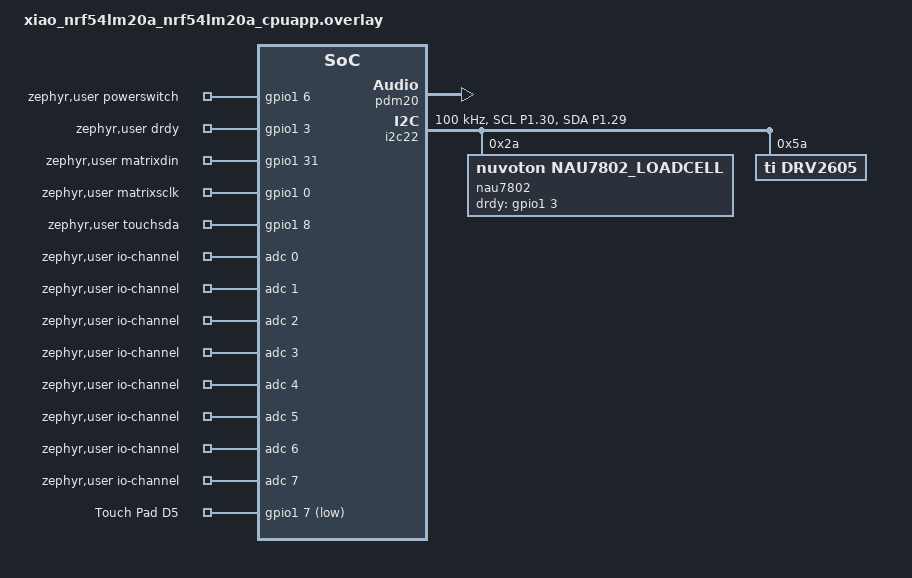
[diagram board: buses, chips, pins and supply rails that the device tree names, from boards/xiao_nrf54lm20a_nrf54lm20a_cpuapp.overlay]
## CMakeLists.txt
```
cmake_minimum_required(VERSION 3.20.0)

find_package(Zephyr REQUIRED HINTS $ENV{ZEPHYR_BASE})
project(SnailScale)

set(FLPR_BIN_PATH "${CMAKE_BINARY_DIR}/../app_flpr/zephyr/zephyr.bin")
set(FLPR_HDR "${CMAKE_CURRENT_BINARY_DIR}/include/flpr_firmware.h")
set(BIN2HDR  "${CMAKE_CURRENT_SOURCE_DIR}/../scripts/bin_to_header.py")

file(MAKE_DIRECTORY "${CMAKE_CURRENT_BINARY_DIR}/include")

add_custom_command(
    OUTPUT  "${FLPR_HDR}"
    COMMAND "${PYTHON_EXECUTABLE}" -X utf8 "${BIN2HDR}"
            --input      "${FLPR_BIN_PATH}"
            --output     "${FLPR_HDR}"
            --array-name flpr_firmware
    DEPENDS "${FLPR_BIN_PATH}" "${BIN2HDR}"
    COMMENT "Generating FLPR firmware header from zephyr.bin"
    VERBATIM
)

target_sources(app PRIVATE 
    src/main.c
    src/flpr_control.c
    src/scale_logic.c
    src/touch_sensor.c
    src/bluetooth.c
    src/motion_ipc.c
    src/fault_handler.c
    src/display_manager.c
    src/periph_power.c
    src/haptic_manager.c
)

target_include_directories(app PRIVATE "${CMAKE_CURRENT_BINARY_DIR}/include")
target_sources(app PRIVATE "${FLPR_HDR}")
```

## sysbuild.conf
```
# MCUBOOT
SB_CONFIG_BOOTLOADER_MCUBOOT=y

# Disable NSIB
SB_CONFIG_SECURE_BOOT_APPCORE=n

# MCUBOOT swap using offset
SB_CONFIG_MCUBOOT_MODE_SWAP_USING_OFFSET=y

# I know the migrating PM to DTS documentation says to use Kconfig, we are using an upstream board and not a custom one.
# This is a simpler fix, might have to go back and research it to make sure
SB_CONFIG_PARTITION_MANAGER=n

# generate dfu update package zip for nrf connect device manager
SB_CONFIG_DFU_ZIP=y
SB_CONFIG_DFU_ZIP_APP=y

# ECDSA P256 signature verification
SB_CONFIG_BOOT_SIGNATURE_TYPE_ECDSA_P256=y
SB_CONFIG_BOOT_SIGNATURE_KEY_FILE="\${APPLICATION_CONFIG_DIR}/../snailscale-ecdsa256.pem"
```

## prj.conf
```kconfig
CONFIG_GPIO=y

# Hardware dependencies
CONFIG_REGULATOR=y
CONFIG_REGULATOR_FIXED=y
CONFIG_MFD=y
CONFIG_REGULATOR_NPM13XX=y

# TM1640 Driver and PT18
CONFIG_TM1640=y
CONFIG_PT18_MATRIX=y
CONFIG_PT18_MATRIX_TEXT=y

# Compiler & Size Optimization (Release baseline)
CONFIG_SIZE_OPTIMIZATIONS=y

# Console and Serial (Disabled in Release for power and binary size)
CONFIG_CONSOLE=n
CONFIG_SERIAL=n
CONFIG_UART_CONSOLE=n
CONFIG_USE_SEGGER_RTT=n

# Logging (Disabled in Release)
CONFIG_LOG=n

# I2C and Sensor subsystem
CONFIG_I2C=y
CONFIG_SENSOR=y

# NAU7802 load cell driver
CONFIG_NAU7802_LOADCELL=y
CONFIG_NAU7802_LOADCELL_TRIGGER_GLOBAL_THREAD=y

# drv2605 haptic driver
CONFIG_HAPTICS=y
CONFIG_HAPTICS_DRV2605=y

# Float support for string formatting
CONFIG_CBPRINTF_FP_SUPPORT=y

# disabled to avoid merged image system so flpr can be flashed directly from internal storage
CONFIG_NORDIC_VPR_LAUNCHER=n

# Power Management
CONFIG_RAM_POWER_DOWN_LIBRARY=y
CONFIG_PM_DEVICE=y

# Bluetooth peripheral role used by SMP transport
CONFIG_BT=y
CONFIG_BT_PERIPHERAL=y
CONFIG_BT_DEVICE_NAME="SnailScale"

# MCUmgr / SMP server for OTA DFU
CONFIG_MCUMGR=y
CONFIG_MCUMGR_TRANSPORT_BT=y
# Just Works pairing for dev, enable AUTHEN for production
CONFIG_BT_SMP=y
CONFIG_MCUMGR_TRANSPORT_BT_PERM_RW=y
CONFIG_MCUMGR_TRANSPORT_BT_CONN_PARAM_CONTROL=y
CONFIG_MCUMGR_TRANSPORT_BT_REASSEMBLY=y
CONFIG_MCUMGR_TRANSPORT_NETBUF_SIZE=1230
CONFIG_MCUMGR_GRP_OS=y
CONFIG_MCUMGR_GRP_OS_BOOTLOADER_INFO=y
CONFIG_MCUMGR_GRP_OS_MCUMGR_PARAMS=y
CONFIG_MCUMGR_GRP_IMG=y

# tuning for BLE DFU
CONFIG_BT_L2CAP_TX_MTU=247
CONFIG_BT_BUF_ACL_TX_SIZE=251
CONFIG_BT_BUF_ACL_RX_SIZE=251
CONFIG_BT_CTLR_DATA_LENGTH_MAX=251

# Storage / image manager dependencies
CONFIG_CRC=y
CONFIG_FLASH=y
CONFIG_FLASH_MAP=y
CONFIG_STREAM_FLASH=y
CONFIG_IMG_MANAGER=y
CONFIG_NET_BUF=y
CONFIG_ZCBOR=y

# ZMS requirements for RRAM
CONFIG_ZMS=y
CONFIG_SETTINGS=y
CONFIG_SETTINGS_ZMS=y

CONFIG_IPC_SERVICE=y
CONFIG_MBOX=y
CONFIG_IPC_SERVICE_BACKEND_ICMSG_ME_INITIATOR=y

# Zbus
CONFIG_ZBUS=y
```

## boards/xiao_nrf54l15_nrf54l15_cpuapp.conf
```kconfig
# Multirole is the only currently supported role by SoftDevice
CONFIG_BT_LL_SOFTDEVICE_MULTIROLE=y

# ZMS cache optimization
CONFIG_ZMS_LOOKUP_CACHE=y
CONFIG_ZMS_LOOKUP_CACHE_SIZE=512
CONFIG_ZMS_LOOKUP_CACHE_FOR_SETTINGS=y

# Workaround required as Zephyr L2 implies usage of NVS backend for settings
CONFIG_NVS=n
```

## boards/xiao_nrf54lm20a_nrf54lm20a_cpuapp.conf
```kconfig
# SoftDevice multirole for nRF54LM20A
CONFIG_BT_LL_SOFTDEVICE_MULTIROLE=y

# ZMS cache optimization
CONFIG_ZMS_LOOKUP_CACHE=y
CONFIG_ZMS_LOOKUP_CACHE_SIZE=512
CONFIG_ZMS_LOOKUP_CACHE_FOR_SETTINGS=y

# Workaround as Zephyr L2 implies NVS backend for settings
CONFIG_NVS=n
```

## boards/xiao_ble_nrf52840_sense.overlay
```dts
#include "../dts/partitions.dtsi"

/ {
    chosen {
        zephyr,code-partition = &slot0_partition;
    };
};
```

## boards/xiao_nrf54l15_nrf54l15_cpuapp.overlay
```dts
#include "../dts/partitions.dtsi"

/ {
        chosen {
                zephyr,code-partition = &slot0_partition;
                zephyr,log-ipc = &ipc0;
        };

        ipc {
                ipc0: ipc0 {
                        compatible = "zephyr,ipc-icmsg-me-initiator";
                        dcache-alignment = <32>;
                        tx-region = <&sram_tx>;
                        rx-region = <&sram_rx>;
                        mboxes = <&cpuapp_vevif_tx 21>, <&cpuapp_vevif_rx 20>;
                        mbox-names = "tx", "rx";
                        status = "okay";
                };
        };

        zephyr,user {
                io-channels = <&adc 0>, <&adc 1>, <&adc 2>, <&adc 3>, <&adc 4>, <&adc 5>, <&adc 6>, <&adc 7>;
        };

        soc {
                /* Define the missing 96KB SRAM region for FLPR */
                cpuflpr_sram_code_data: memory@20028000 {
                        compatible = "mmio-sram";
                        reg = <0x20028000 DT_SIZE_K(96)>;
                        #address-cells = <1>;
                        #size-cells = <1>;
                        ranges = <0x0 0x20028000 DT_SIZE_K(96)>;
                };
        };

        reserved-memory {
                #address-cells = <1>;
                #size-cells = <1>;
                ranges;

                sram_tx: memory@20018000 {
                        reg = <0x20018000 0x0800>;
                };

                sram_rx: memory@20020000 {
                        reg = <0x20020000 0x0800>;
                };
        };
};

dmic_dev: &pdm20 {
        status = "okay";
};

/* Restore RRAM for the main application */
&cpuapp_rram {
    reg = <0x0 DT_SIZE_K(1524)>;
};

&cpuapp_sram {
    reg = <0x20000000 DT_SIZE_K(96)>;
};


&cpuflpr_vpr {
    execution-memory = <&cpuflpr_sram_code_data>;
    status = "okay";
};

/* enable VEVIF for coprocessor */
&cpuapp_vevif_tx {
    status = "okay";
};

/* enable rx vevif mailbox for receiving ipc logs from flpr */
&cpuapp_vevif_rx {
    status = "okay";
};

/* TM1640 shield pin overrides for nRF54L15 where D0 D1 route to gpio1 4 5 */
&tm1640 {
        din-gpios = <&gpio1 4 GPIO_ACTIVE_HIGH>;
        clk-gpios = <&gpio1 5 GPIO_ACTIVE_HIGH>;
};

/* I2C pinctrl for NAU7802 on XIAO D2 D3 */
&pinctrl {
        i2c22_default: i2c22_default {
                group1 {
                        psels = <NRF_PSEL(TWIM_SCL, 1, 6)>,
                                <NRF_PSEL(TWIM_SDA, 1, 7)>;
                };
        };

        i2c22_sleep: i2c22_sleep {
                group1 {
                        psels = <NRF_PSEL(TWIM_SCL, 1, 6)>,
                                <NRF_PSEL(TWIM_SDA, 1, 7)>;
                        low-power-enable;
                };
        };
};

&i2c22 {
        compatible = "nordic,nrf-twim";
        status = "okay";
        pinctrl-0 = <&i2c22_default>;
        pinctrl-1 = <&i2c22_sleep>;
        pinctrl-names = "default", "sleep";
        clock-frequency = <I2C_BITRATE_STANDARD>;

        nau7802: nau7802@2a {
                compatible = "nuvoton,nau7802_loadcell";
                reg = <0x2a>;
                drdy-gpios = <&gpio1 10 GPIO_ACTIVE_HIGH>;
                conversions-per-second = <20>;
                gain = <128>;
        };
};

/ {
        aliases {
                sw0 = &touch_pad;
        };

        buttons {
                compatible = "gpio-keys";
                touch_pad: touch_pad {
                        gpios = <&gpio1 11 (GPIO_ACTIVE_HIGH | GPIO_PULL_DOWN)>;
                        label = "Touch Pad D7";
                };
        };
};

&i2c30 {
        status = "disabled";
};

&lsm6ds3tr_c {
        status = "disabled";
};
```

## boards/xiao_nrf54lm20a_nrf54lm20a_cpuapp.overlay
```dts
#include "../dts/partitions_lm20a.dtsi"

/ {
        chosen {
                zephyr,code-partition = &slot0_partition;
                zephyr,log-ipc = &ipc0;
        };

        ipc {
                ipc0: ipc0 {
                        compatible = "zephyr,ipc-icmsg-me-initiator";
                        dcache-alignment = <32>;
                        tx-region = <&sram_tx>;
                        rx-region = <&sram_rx>;
                        mboxes = <&cpuapp_vevif_tx 21>, <&cpuapp_vevif_rx 20>;
                        mbox-names = "tx", "rx";
                        status = "okay";
                };
        };

        zephyr,user {
                io-channels = <&adc 0>, <&adc 1>, <&adc 2>, <&adc 3>, <&adc 4>, <&adc 5>, <&adc 6>, <&adc 7>;
                powerswitch-gpios = <&gpio1 6 GPIO_ACTIVE_HIGH>;
                drdy-gpios = <&gpio1 3 GPIO_ACTIVE_HIGH>;
                matrixdin-gpios = <&gpio1 31 GPIO_ACTIVE_HIGH>;
                matrixsclk-gpios = <&gpio1 0 GPIO_ACTIVE_HIGH>;
                touchsda-gpios = <&gpio1 8 GPIO_ACTIVE_HIGH>;
        };

        soc {
                cpuflpr_sram_code_data: memory@20070000 {
                        compatible = "mmio-sram";
                        reg = <0x20070000 DT_SIZE_K(63)>;
                        #address-cells = <1>;
                        #size-cells = <1>;
                        ranges = <0x0 0x20070000 DT_SIZE_K(63)>;
                };
        };

        reserved-memory {
                #address-cells = <1>;
                #size-cells = <1>;
                ranges;

                sram_tx: memory@20060000 {
                        reg = <0x20060000 0x0800>;
                };

                sram_rx: memory@20068000 {
                        reg = <0x20068000 0x0800>;
                };
        };
};

dmic_dev: &pdm20 {
        status = "okay";
};



&cpuapp_rram {
    reg = <0x0 DT_SIZE_K(2036)>;
};

&cpuapp_sram {
    reg = <0x20000000 DT_SIZE_K(384)>;
};

&cpuflpr_vpr {
    execution-memory = <&cpuflpr_sram_code_data>;
    status = "okay";
};

&cpuapp_vevif_tx {
    status = "okay";
};

&cpuapp_vevif_rx {
    status = "okay";
};

&tm1640 {
        din-gpios = <&gpio1 31 GPIO_ACTIVE_HIGH>;
        clk-gpios = <&gpio1 0 GPIO_ACTIVE_HIGH>;
};

&pinctrl {
        i2c22_default: i2c22_default {
                group1 {
                        psels = <NRF_PSEL(TWIM_SCL, 1, 30)>,
                                <NRF_PSEL(TWIM_SDA, 1, 29)>;
                        bias-pull-up;
                };
        };

        i2c22_sleep: i2c22_sleep {
                group1 {
                        psels = <NRF_PSEL(TWIM_SCL, 1, 30)>,
                                <NRF_PSEL(TWIM_SDA, 1, 29)>;
                        low-power-enable;
                };
        };
};

&i2c22 {
        compatible = "nordic,nrf-twim";
        status = "okay";
        pinctrl-0 = <&i2c22_default>;
        pinctrl-1 = <&i2c22_sleep>;
        pinctrl-names = "default", "sleep";
        clock-frequency = <I2C_BITRATE_STANDARD>;

        nau7802: nau7802@2a {
                compatible = "nuvoton,nau7802_loadcell";
                reg = <0x2a>;
                drdy-gpios = <&gpio1 3 GPIO_ACTIVE_HIGH>;
                conversions-per-second = <20>;
                gain = <128>;
        };

        drv2605: drv2605@5a {
                compatible = "ti,drv2605";
                reg = <0x5a>;
                status = "okay";
                actuator-mode = "LRA";
                vib-rated-mv = <1800>;
                vib-overdrive-mv = <2000>;
        };
};

/ {
        aliases {
                sw0 = &touch_pad;
        };

        buttons {
                compatible = "gpio-keys";
                touch_pad: touch_pad {
                        gpios = <&gpio1 7 (GPIO_ACTIVE_LOW | GPIO_PULL_UP)>;
                        label = "Touch Pad D5";
                };
        };
};

&i2c30 {
        status = "disabled";
};

&lsm6ds3tr_c {
        status = "disabled";
};

&spi23 {
        status = "disabled";
};

&uart21 {
        status = "disabled";
};
```

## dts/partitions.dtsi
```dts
&cpuapp_rram {
        /* Delete the default board partitions, prevents label collisions */
        /delete-node/ partitions;

        partitions {
                compatible = "fixed-partitions";
                #address-cells = <1>;
                #size-cells = <1>;

                boot_partition: partition@0 {
                        label = "mcuboot";
                        reg = <0x0 0xd000>;
                };

                slot0_partition: partition@d000 {
                        label = "image-0";
                        reg = <0xd000 0xb2000>;
                };

                slot1_partition: partition@bf000 {
                        label = "image-1";
                        reg = <0xbf000 0xb2000>;
                };

                scratch_partition: partition@171000 {
                        label = "image-scratch";
                        reg = <0x171000 0x1000>;
                };

                factory_data_partition: partition@172000 {
                        label = "factory-data";
                        reg = <0x172000 0x1000>;
                };

                storage_partition: partition@173000 {
                        label = "storage";
                        reg = <0x173000 0xa000>;
                };
        };
};
```

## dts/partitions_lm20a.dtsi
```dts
&cpuapp_rram {
        /delete-node/ partitions;

        partitions {
                compatible = "fixed-partitions";
                #address-cells = <1>;
                #size-cells = <1>;

                boot_partition: partition@0 {
                        label = "mcuboot";
                        reg = <0x0 0xd000>;
                };

                slot0_partition: partition@d000 {
                        label = "image-0";
                        reg = <0xd000 0xea000>;
                };

                slot1_partition: partition@f7000 {
                        label = "image-1";
                        reg = <0xf7000 0xea000>;
                };

                scratch_partition: partition@1e1000 {
                        label = "image-scratch";
                        reg = <0x1e1000 0x1000>;
                };

                factory_data_partition: partition@1e2000 {
                        label = "factory-data";
                        reg = <0x1e2000 0x1000>;
                };

                storage_partition: partition@1e3000 {
                        label = "storage";
                        reg = <0x1e3000 0x1a000>;
                };
        };
};
```

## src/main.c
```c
#include <zephyr/kernel.h>
#include <zephyr/device.h>
#include <zephyr/devicetree.h>
#include <zephyr/drivers/gpio.h>
#include <zephyr/logging/log.h>
#include <string.h>
#include <zephyr/settings/settings.h>

#include "scale_logic.h"
#include "touch_sensor.h"
#include "bluetooth.h"
#include "motion_ipc.h"
#include "fault_handler.h"
#include "display_manager.h"
#include "haptic_manager.h"

#include <zephyr/dfu/mcuboot.h>
#include <app_version.h>

LOG_MODULE_REGISTER(main, CONFIG_LOG_DEFAULT_LEVEL);
int main(void)
{
	LOG_INF("SnailScale firmware v%s started", APP_VERSION_EXTENDED_STRING);

	if (settings_subsys_init() != 0) {
		system_fault_handler("Settings subsys init failed");
	}

	if (display_manager_init() != 0) {
		system_fault_handler("Display manager init failed");
	}

	// init haptics
	haptic_manager_init();


	if (bluetooth_init()) {
		// reboot if bluetooth fails so mcuboot can revert to working firmware
		system_fault_handler("Bluetooth init failed");
	}

	if (touch_sensor_init() != 0) {
		system_fault_handler("Touch sensor init failed");
	}

	// ipc must be up before scale logic starts
	if (motion_ipc_init() != 0) {
		system_fault_handler("Motion IPC init failed");
	}

	if (scale_logic_init() != 0) {
		system_fault_handler("Scale logic init failed");
	}

	settings_load();

	LOG_INF("NAU7802 DRDY trigger active");

	// confirm image to prevent rollback
	boot_write_img_confirmed();

	k_sleep(K_FOREVER);

	return 0;
}
```

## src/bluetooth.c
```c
#include "bluetooth.h"

#include <zephyr/kernel.h>
#include <zephyr/bluetooth/bluetooth.h>
#include <zephyr/bluetooth/conn.h>
#include <zephyr/mgmt/mcumgr/transport/smp_bt.h>
#include <zephyr/logging/log.h>

LOG_MODULE_REGISTER(bluetooth, CONFIG_LOG_DEFAULT_LEVEL);

// ble advertisement data flags and device name
static const struct bt_data ad[] = {
	BT_DATA_BYTES(BT_DATA_FLAGS, (BT_LE_AD_GENERAL | BT_LE_AD_NO_BREDR)),
	BT_DATA(BT_DATA_NAME_COMPLETE, CONFIG_BT_DEVICE_NAME,
		sizeof(CONFIG_BT_DEVICE_NAME) - 1),
};

// scan response smp service uuid for nrf connect device manager
static const struct bt_data sd[] = {
	BT_DATA_BYTES(BT_DATA_UUID128_ALL, SMP_BT_SVC_UUID_VAL),
};

// log connection events
static void connected(struct bt_conn *conn, uint8_t err)
{
	if (err) {
		LOG_ERR("Connection failed err %d", err);
	} else {
		LOG_INF("Connected");
	}
}

// restart advertising from workqueue
static struct k_work adv_restart_work;

static void adv_restart_handler(struct k_work *work)
{
	int err = bt_le_adv_start(BT_LE_ADV_CONN_FAST_1, ad, ARRAY_SIZE(ad),
			      sd, ARRAY_SIZE(sd));
	if (err) {
		LOG_ERR("Advertising failed to restart err %d", err);
	} else {
		LOG_INF("Advertising as %s", CONFIG_BT_DEVICE_NAME);
	}
}

// log disconnection events
static void disconnected(struct bt_conn *conn, uint8_t reason)
{
	LOG_INF("Disconnected reason %d", reason);
	k_work_submit(&adv_restart_work);
}

// register callbacks automatically
BT_CONN_CB_DEFINE(conn_callbacks) = {
	.connected = connected,
	.disconnected = disconnected,
};

int bluetooth_init(void)
{
	k_work_init(&adv_restart_work, adv_restart_handler);

	int err = bt_enable(NULL);
	if (err) {
		LOG_ERR("Bluetooth init failed err %d", err);
		return err;
	}
	LOG_INF("Bluetooth initialized");

	err = bt_le_adv_start(BT_LE_ADV_CONN_FAST_1, ad, ARRAY_SIZE(ad),
			      sd, ARRAY_SIZE(sd));
	if (err) {
		LOG_ERR("Advertising failed to start err %d", err);
		return err;
	}
	LOG_INF("Advertising as %s", CONFIG_BT_DEVICE_NAME);

	return 0;
}
```

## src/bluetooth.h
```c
#ifndef BLUETOOTH_H
#define BLUETOOTH_H

// initialize the bluetooth subsystem
int bluetooth_init(void);

#endif
```

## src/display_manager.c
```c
#include "display_manager.h"
#include <zephyr/kernel.h>
#include <zephyr/logging/log.h>
#include <string.h>
#include <pt18_matrix/pt18_matrix.h>
#include <pt18_matrix/pt18_matrix_text.h>

LOG_MODULE_REGISTER(display_manager, CONFIG_LOG_DEFAULT_LEVEL);

static struct k_work_delayable inactivity_work;
K_MSGQ_DEFINE(display_msgq, sizeof(struct display_msg), 16, 4);

static struct display_msg cached_msg;
static bool has_cached_msg;
static uint8_t cached_brightness = 2;

static void inactivity_work_handler(struct k_work *work)
{
	display_manager_set_brightness(1);
}

void display_manager_clear(void)
{
	struct display_msg msg;
	msg.type = MSG_DISPLAY_CLEAR;
	k_msgq_put(&display_msgq, &msg, K_NO_WAIT);
}

void display_manager_print(const char *str, int align)
{
	struct display_msg msg;
	msg.type = MSG_DISPLAY_PRINT;
	strncpy(msg.data.print.str, str, sizeof(msg.data.print.str) - 1);
	msg.data.print.str[sizeof(msg.data.print.str) - 1] = '\0';
	msg.data.print.align = align;
	k_msgq_put(&display_msgq, &msg, K_NO_WAIT);
}

void display_manager_write(const uint8_t *buf, size_t len)
{
	struct display_msg msg;
	msg.type = MSG_DISPLAY_WRITE;
	if (len > sizeof(msg.data.write.buf)) {
		len = sizeof(msg.data.write.buf);
	}
	memcpy(msg.data.write.buf, buf, len);
	msg.data.write.len = len;
	k_msgq_put(&display_msgq, &msg, K_NO_WAIT);
}

void display_manager_set_brightness(uint8_t level)
{
	struct display_msg msg;
	msg.type = MSG_DISPLAY_SET_BRIGHTNESS;
	msg.data.brightness.level = level;
	k_msgq_put(&display_msgq, &msg, K_NO_WAIT);
}

void display_manager_power_off(void)
{
	struct display_msg msg;
	msg.type = MSG_DISPLAY_POWER_OFF;
	k_msgq_put(&display_msgq, &msg, K_NO_WAIT);
}

void display_manager_power_on(void)
{
	struct display_msg msg;
	msg.type = MSG_DISPLAY_POWER_ON;
	k_msgq_put(&display_msgq, &msg, K_NO_WAIT);
}

void display_manager_refresh(void)
{
	display_manager_power_on();
}

void display_manager_register_activity(void)
{
	display_manager_set_brightness(2);
	k_work_reschedule(&inactivity_work, K_SECONDS(10));
}

static void display_thread(void)
{
	struct display_msg msg;

	while (1) {
		if (k_msgq_get(&display_msgq, &msg, K_FOREVER) == 0) {
			switch (msg.type) {
				case MSG_DISPLAY_CLEAR:
					has_cached_msg = false;
					pt18_matrix_clear();
					break;
				case MSG_DISPLAY_PRINT:
					cached_msg = msg;
					has_cached_msg = true;
					pt18_matrix_print(msg.data.print.str, msg.data.print.align);
					break;
				case MSG_DISPLAY_WRITE:
					cached_msg = msg;
					has_cached_msg = true;
					pt18_matrix_write(msg.data.write.buf, msg.data.write.len);
					break;
				case MSG_DISPLAY_SET_BRIGHTNESS:
					cached_brightness = msg.data.brightness.level;
					pt18_matrix_set_brightness(msg.data.brightness.level);
					break;
				case MSG_DISPLAY_POWER_OFF:
					pt18_matrix_power_off();
					break;
				case MSG_DISPLAY_POWER_ON:
					pt18_matrix_power_on();
					pt18_matrix_set_brightness(cached_brightness);
					if (has_cached_msg) {
						if (cached_msg.type == MSG_DISPLAY_PRINT) {
							pt18_matrix_print(cached_msg.data.print.str,
									  cached_msg.data.print.align);
						} else if (cached_msg.type == MSG_DISPLAY_WRITE) {
							pt18_matrix_write(cached_msg.data.write.buf,
									  cached_msg.data.write.len);
						}
					} else {
						pt18_matrix_clear();
					}
					break;
				default:
					LOG_WRN("Unknown display message type: %d", msg.type);
					break;
			}
		}
	}
}

K_THREAD_DEFINE(display_thread_id, 1024, display_thread, NULL, NULL, NULL, 7, 0, 0);

int display_manager_init(void)
{
	k_work_init_delayable(&inactivity_work, inactivity_work_handler);

	int ret = pt18_matrix_init();
	if (ret != 0) {
		LOG_ERR("pt18_matrix_init failed: %d", ret);
		return ret;
	}
	
	/* Kick off initial timer */
	display_manager_register_activity();
	
	LOG_INF("Display manager initialized");
	return 0;
}
```

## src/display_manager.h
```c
#ifndef DISPLAY_MANAGER_H
#define DISPLAY_MANAGER_H

#include <stdint.h>
#include <stddef.h>

enum display_msg_type {
	MSG_DISPLAY_CLEAR,
	MSG_DISPLAY_PRINT,
	MSG_DISPLAY_WRITE,
	MSG_DISPLAY_SET_BRIGHTNESS,
	MSG_DISPLAY_POWER_OFF,
	MSG_DISPLAY_POWER_ON
};

struct display_msg {
	enum display_msg_type type;
	union {
		struct {
			char str[16];
			int align;
		} print;
		struct {
			uint8_t buf[17];
			size_t len;
		} write;
		struct {
			uint8_t level;
		} brightness;
	} data;
};

int display_manager_init(void);
void display_manager_clear(void);
void display_manager_print(const char *str, int align);
void display_manager_write(const uint8_t *buf, size_t len);
void display_manager_set_brightness(uint8_t level);
void display_manager_power_off(void);
void display_manager_power_on(void);
void display_manager_refresh(void);
void display_manager_register_activity(void);

#endif /* DISPLAY_MANAGER_H */
```

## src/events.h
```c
#ifndef EVENTS_H
#define EVENTS_H

#include <zephyr/zbus/zbus.h>

struct tare_request_msg {
	uint8_t dummy; // prevent empty struct
};

struct wake_request_msg {
	uint8_t dummy;
};

struct calibrate_request_msg {
	uint8_t dummy;
};

ZBUS_CHAN_DECLARE(tare_request_chan);
ZBUS_CHAN_DECLARE(wake_request_chan);
ZBUS_CHAN_DECLARE(calibrate_request_chan);

#endif
```

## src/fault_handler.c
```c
#include "fault_handler.h"

#include <zephyr/kernel.h>
#include <zephyr/sys/reboot.h>
#include <zephyr/logging/log.h>

#include <pt18_matrix/pt18_matrix.h>
#include <pt18_matrix/pt18_matrix_text.h>

LOG_MODULE_REGISTER(fault_handler, CONFIG_LOG_DEFAULT_LEVEL);

void system_fault_handler(const char *reason)
{
	LOG_ERR("SYSTEM FAULT: %s", reason);
	LOG_ERR("Rebooting in 3 seconds...");

	pt18_matrix_clear();
	pt18_matrix_print("ERR", 0);

	k_sleep(K_SECONDS(3));
	sys_reboot(SYS_REBOOT_COLD);
}
```

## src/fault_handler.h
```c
#ifndef FAULT_HANDLER_H
#define FAULT_HANDLER_H

void system_fault_handler(const char *reason);

#endif
```

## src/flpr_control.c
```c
#include <zephyr/kernel.h>
#include <zephyr/devicetree.h>
#include <zephyr/cache.h>
#include <string.h>

#include <hal/nrf_vpr.h>
#include <hal/nrf_spu.h>
#include <ram_pwrdn.h>
#include "flpr_firmware.h"

#define FLPR_SRAM_GLOBAL_ADDR (DT_REG_ADDR(DT_NODELABEL(cpuflpr_sram_code_data)))
#define FLPR_SRAM_GLOBAL_SIZE (DT_REG_SIZE(DT_NODELABEL(cpuflpr_sram_code_data)))
#define IPC_TX_ADDR DT_REG_ADDR(DT_NODELABEL(sram_tx))
#define IPC_TX_SIZE DT_REG_SIZE(DT_NODELABEL(sram_tx))
#define IPC_RX_ADDR DT_REG_ADDR(DT_NODELABEL(sram_rx))
#define IPC_RX_SIZE DT_REG_SIZE(DT_NODELABEL(sram_rx))

static int flpr_early_ram_init(void) {
    power_up_ram(IPC_TX_ADDR, IPC_TX_ADDR + IPC_TX_SIZE);
    memset((void *)IPC_TX_ADDR, 0, IPC_TX_SIZE);

    power_up_ram(IPC_RX_ADDR, IPC_RX_ADDR + IPC_RX_SIZE);
    memset((void *)IPC_RX_ADDR, 0, IPC_RX_SIZE);

    // flush ipc shared ram so flpr sees zeroed buffers
    sys_cache_data_flush_range((void *)IPC_TX_ADDR, IPC_TX_SIZE);
    sys_cache_data_flush_range((void *)IPC_RX_ADDR, IPC_RX_SIZE);

    power_up_ram(FLPR_SRAM_GLOBAL_ADDR, FLPR_SRAM_GLOBAL_ADDR + FLPR_SRAM_GLOBAL_SIZE);

    return 0;
}
SYS_INIT(flpr_early_ram_init, PRE_KERNEL_1, 0);

int flpr_boot(void) {
    memcpy((void *)FLPR_SRAM_GLOBAL_ADDR, flpr_firmware, FLPR_FIRMWARE_SIZE);
    
    // flush firmware payload to sram without config dcache guard
    sys_cache_data_flush_range((void *)FLPR_SRAM_GLOBAL_ADDR, FLPR_FIRMWARE_SIZE);

    nrf_spu_periph_perm_secattr_set(NRF_SPU00, nrf_address_slave_get((uint32_t)NRF_VPR00), true);
    nrf_spu_periph_perm_dmasec_set(NRF_SPU00, nrf_address_slave_get((uint32_t)NRF_VPR00), true);

    nrf_vpr_initpc_set(NRF_VPR00, FLPR_SRAM_GLOBAL_ADDR);
    nrf_vpr_cpurun_set(NRF_VPR00, true);
    
    return 0;
}
```

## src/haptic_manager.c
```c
#include "haptic_manager.h"

#include <zephyr/kernel.h>
#include <zephyr/device.h>
#include <zephyr/devicetree.h>
#include <zephyr/drivers/i2c.h>
#include <zephyr/drivers/haptics.h>
#include <zephyr/drivers/haptics/drv2605.h>
#include <zephyr/logging/log.h>

LOG_MODULE_REGISTER(haptic_manager, CONFIG_LOG_DEFAULT_LEVEL);

// drv2605 register addresses
#define DRV2605_REG_STATUS 0x00
#define DRV2605_REG_MODE 0x01
#define DRV2605_REG_GO 0x0C
#define DRV2605_REG_RATED_VOLTAGE 0x16
#define DRV2605_REG_OVERDRIVE_CLAMP_VOLTAGE 0x17
#define DRV2605_REG_FEEDBACK_CONTROL 0x1A
#define DRV2605_REG_CONTROL3 0x1D

// calculated rated voltage 1800mv
#define DRV2605_VAL_RATED_1800MV 81

// calculated clamp voltage 2000mv
#define DRV2605_VAL_CLAMP_2000MV 91

// feedback control lra 3x brake high gain
#define DRV2605_VAL_FEEDBACK_LRA 0xB6

// lra open loop
#define DRV2605_VAL_CONTROL3_LRA_OPEN 0x01

#if DT_NODE_EXISTS(DT_NODELABEL(drv2605))
// drv2605 devicetree spec
static const struct device *haptic_dev = DEVICE_DT_GET(DT_NODELABEL(drv2605));
static const struct i2c_dt_spec haptic_i2c = I2C_DT_SPEC_GET(DT_NODELABEL(drv2605));
#endif

int haptic_manager_reinit(void)
{
#if DT_NODE_EXISTS(DT_NODELABEL(drv2605))
	if (!device_is_ready(haptic_dev) || !i2c_is_ready_dt(&haptic_i2c)) {
		return -ENODEV;
	}

	// wake up chip
	i2c_reg_write_byte_dt(&haptic_i2c, DRV2605_REG_MODE, 0x00);

	// set lra feedback
	i2c_reg_write_byte_dt(&haptic_i2c, DRV2605_REG_FEEDBACK_CONTROL, DRV2605_VAL_FEEDBACK_LRA);

	// set rated voltage
	i2c_reg_write_byte_dt(&haptic_i2c, DRV2605_REG_RATED_VOLTAGE, DRV2605_VAL_RATED_1800MV);

	// set clamp voltage
	i2c_reg_write_byte_dt(&haptic_i2c, DRV2605_REG_OVERDRIVE_CLAMP_VOLTAGE, DRV2605_VAL_CLAMP_2000MV);

	// enable lra open loop
	i2c_reg_update_byte_dt(&haptic_i2c, DRV2605_REG_CONTROL3, DRV2605_VAL_CONTROL3_LRA_OPEN, DRV2605_VAL_CONTROL3_LRA_OPEN);

	return 0;
#else
	return 0;
#endif
}

static int play_effect(uint8_t effect_id)
{
#if DT_NODE_EXISTS(DT_NODELABEL(drv2605))
	if (!device_is_ready(haptic_dev) || !i2c_is_ready_dt(&haptic_i2c)) {
		return -ENODEV;
	}

	uint8_t pre_status = 0;
	uint8_t pre_go = 0;
	uint8_t post_status = 0;
	uint8_t post_go = 0;

	// read status to clear latched faults and get state
	i2c_reg_read_byte_dt(&haptic_i2c, DRV2605_REG_STATUS, &pre_status);

	// read go bit before starting
	i2c_reg_read_byte_dt(&haptic_i2c, DRV2605_REG_GO, &pre_go);

	// clear go bit to guarantee low state
	i2c_reg_write_byte_dt(&haptic_i2c, DRV2605_REG_GO, 0x00);

	// wake from standby and set internal trigger
	int ret = i2c_reg_write_byte_dt(&haptic_i2c, DRV2605_REG_MODE, 0x00);
	if (ret < 0) {
		LOG_ERR("wake chip failed %d", ret);
		return ret;
	}

	// wait for analog wakeup
	k_usleep(250);

	struct drv2605_rom_data rom = {
		.library = DRV2605_LIBRARY_LRA,
		.trigger = DRV2605_MODE_INTERNAL_TRIGGER,
		.seq_regs[0] = effect_id,
		.seq_regs[1] = 0,
		.overdrive_time = 0,
		.sustain_pos_time = 0,
		.sustain_neg_time = 0,
		.brake_time = 0,
	};

	// configure rom playback
	union drv2605_config_data cfg = { .rom_data = &rom };
	ret = drv2605_haptic_config(haptic_dev, DRV2605_HAPTICS_SOURCE_ROM, &cfg);
	if (ret < 0) {
		LOG_ERR("config rom failed %d", ret);
		return ret;
	}

	// trigger go bit directly to ensure rising edge
	ret = i2c_reg_write_byte_dt(&haptic_i2c, DRV2605_REG_GO, 0x01);

	// read post trigger registers for diagnostics
	i2c_reg_read_byte_dt(&haptic_i2c, DRV2605_REG_STATUS, &post_status);
	i2c_reg_read_byte_dt(&haptic_i2c, DRV2605_REG_GO, &post_go);

	LOG_INF("play effect %d pre status 0x%02x go 0x%02x post status 0x%02x go 0x%02x ret %d",
		effect_id, pre_status, pre_go, post_status, post_go, ret);

	return ret;
#else
	return 0;
#endif
}

int haptic_manager_init(void)
{
#if DT_NODE_EXISTS(DT_NODELABEL(drv2605))
	// check device ready
	if (!device_is_ready(haptic_dev)) {
		LOG_ERR("drv2605 device not ready");
		return -ENODEV;
	}

	// restore registers
	haptic_manager_reinit();

	LOG_INF("haptic manager initialized with lra");

	// boot test click
	haptic_play_subtle_click();

	return 0;
#else
	LOG_INF("haptic driver not present in devicetree");
	return 0;
#endif
}

int haptic_play_click(void)
{
	// strong click 60 percent to match boot and wake
	return play_effect(2);
}

int haptic_play_subtle_click(void)
{
	// subtle click
	return play_effect(2);
}

int haptic_play_arm_cal(void)
{
	// soft bump 60 percent
	return play_effect(8);
}

int haptic_play_cal_confirm(void)
{
	// double click 60 percent
	return play_effect(11);
}
```

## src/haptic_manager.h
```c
#ifndef HAPTIC_MANAGER_H
#define HAPTIC_MANAGER_H

#ifdef __cplusplus
extern "C" {
#endif

// init haptic manager
int haptic_manager_init(void);

// reinit haptics after power rail restore
int haptic_manager_reinit(void);

// trigger click effect
int haptic_play_click(void);

// trigger subtle click effect
int haptic_play_subtle_click(void);

// trigger arm cal effect
int haptic_play_arm_cal(void);

// trigger cal confirm effect
int haptic_play_cal_confirm(void);

#ifdef __cplusplus
}
#endif

#endif
```

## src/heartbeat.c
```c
#include "heartbeat.h"

#include <zephyr/kernel.h>
#include <zephyr/ipc/ipc_service.h>
#include <zephyr/drivers/gpio.h>
#include <zephyr/logging/log.h>

#include "scale_logic.h"

#define TARE_REQUEST 0x01
#define STILLNESS_REQUEST 0x02
#define STILLNESS_CONFIRMED 0x03

// 30s timeout if scale never settles
#define STILLNESS_TIMEOUT_SEC 30

LOG_MODULE_REGISTER(heartbeat, CONFIG_LOG_DEFAULT_LEVEL);

static struct k_work tare_work;

static void tare_work_handler(struct k_work *work) {
    LOG_INF("Taring scale via shake");
    scale_tare();
}

static K_SEM_DEFINE(ep_bound, 0, 1);
static K_SEM_DEFINE(stillness_sem, 0, 1);

static struct ipc_ept ep;

static const struct gpio_dt_spec led = GPIO_DT_SPEC_GET(DT_ALIAS(led0), gpios);

static void ep_bound_cb(void *priv) {
    k_sem_give(&ep_bound);
}

static void ep_recv_cb(const void *data, size_t len, void *priv) {
    if (len < 1) return;
    uint8_t msg = ((const uint8_t *)data)[0];
    
    if (msg == TARE_REQUEST) {
        LOG_INF("Received TARE_REQUEST from FLPR");
        if (gpio_is_ready_dt(&led)) {
            gpio_pin_toggle_dt(&led);
        }
        k_work_submit(&tare_work);
    } else if (msg == STILLNESS_CONFIRMED) {
        LOG_INF("FLPR confirmed stillness");
        k_sem_give(&stillness_sem);
    }
}

static struct ipc_ept_cfg ep_cfg = {
    .name = "heartbeat",
    .cb = {
        .bound    = ep_bound_cb,
        .received = ep_recv_cb,
    },
};

int heartbeat_init(void)
{
    k_work_init(&tare_work, tare_work_handler);

    if (gpio_is_ready_dt(&led)) {
        gpio_pin_configure_dt(&led, GPIO_OUTPUT_INACTIVE);
    }

    const struct device *ipc = DEVICE_DT_GET(DT_NODELABEL(ipc0));

    int ret = ipc_service_open_instance(ipc);
    if (ret < 0 && ret != -EALREADY) {
        LOG_ERR("ipc open failed %d", ret);
        return ret;
    }

    ret = ipc_service_register_endpoint(ipc, &ep, &ep_cfg);
    if (ret < 0) {
        LOG_ERR("ep register failed %d", ret);
        return ret;
    }

    // wait for flpr to bind its end
    k_sem_take(&ep_bound, K_FOREVER);
    LOG_INF("heartbeat endpoint bound on cpuapp");
    return 0;
}

// blocks the calling thread until FLPR says the scale is still
// this runs on the sysworkq when called from tare so other
// work items like DRDY will be delayed until stillness is confirmed
int heartbeat_send_stillness_request(void)
{
    // drain any stale signals
    k_sem_reset(&stillness_sem);

    uint8_t msg = STILLNESS_REQUEST;
    int ret = ipc_service_send(&ep, &msg, sizeof(msg));
    if (ret < 0) {
        LOG_ERR("Failed to send STILLNESS_REQUEST: %d", ret);
        return ret;
    }
    return 0;
}

// blocks the calling thread until FLPR says the scale is still
// returns 0 if still, -EAGAIN if timeout
int heartbeat_wait_stillness(int timeout_ms)
{
    return k_sem_take(&stillness_sem, K_MSEC(timeout_ms));
}
```

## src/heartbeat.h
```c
#ifndef HEARTBEAT_H
#define HEARTBEAT_H

int heartbeat_init(void);
int heartbeat_send_stillness_request(void);
int heartbeat_wait_stillness(int timeout_ms);

#endif
```
